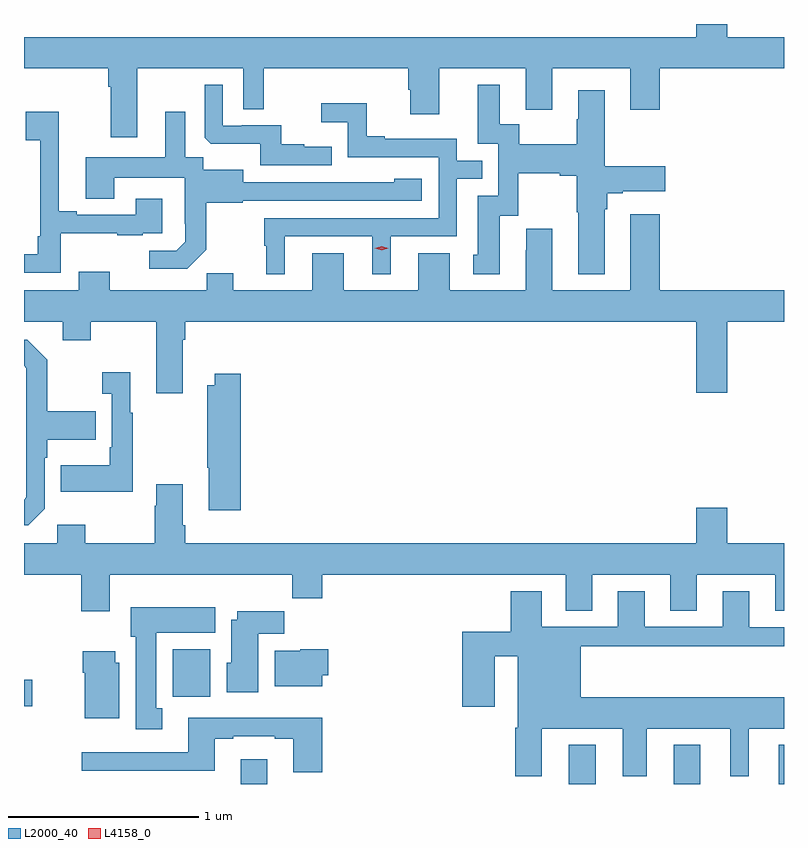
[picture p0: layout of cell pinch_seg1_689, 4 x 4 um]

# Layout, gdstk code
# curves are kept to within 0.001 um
import gdstk
lib = gdstk.Library(unit=1e-6, precision=1e-09)
def R(c, l, rs):  # rectangles x0, y0, x1, y1
    for r in rs: c.add(gdstk.rectangle(r[:2], r[2:], *l))
def P(c, l, *ps):  # polygons
    for p in ps: c.add(gdstk.Polygon(p, *l))
L2000_40 = (2000, 40)
L4158_0 = (4158, 0)

pinch_seg1_689 = lib.new_cell('pinch_seg1_689')
R(pinch_seg1_689, L2000_40, [(750.023,565.282,750.163,565.411), (751.751,565.282,751.891,565.489), (752.303,565.282,752.443,565.489), (752.855,565.282,752.883,565.489), (748.883,565.69,748.927,565.832), (749.667,565.74,749.863,565.99)])
P(pinch_seg1_689, L2000_40, [(748.883,569.048),(749.327,569.048),(749.327,568.952),(749.339,568.952),(749.339,568.686),(749.479,568.686),(749.479,569.048),(750.036,569.048),(750.036,568.834),(750.145,568.834),(750.145,569.048),(750.905,569.048),(750.905,568.935),(750.917,568.935),(750.917,568.806),(751.069,568.806),(751.069,569.048),(751.523,569.048),(751.523,568.83),(751.663,568.83),(751.663,569.048),(752.075,569.048),(752.075,568.83),(752.228,568.83),(752.228,569.048),(752.883,569.048),(752.883,569.212),(752.584,569.212),(752.584,569.282),(752.42,569.282),(752.42,569.212),(748.883,569.212)],
  [(750.503,568.636),(750.359,568.636),(750.359,568.648),(750.236,568.648),(750.236,568.749),(750.028,568.749),(750.028,568.746),(749.928,568.746),(749.928,568.963),(749.835,568.963),(749.835,568.683),(749.867,568.652),(750.126,568.652),(750.126,568.539),(750.503,568.539)],
  [(751.939,568.307),(751.952,568.307),(751.952,568.391),(752.035,568.391),(752.035,568.403),(752.257,568.403),(752.257,568.533),(751.939,568.533),(751.939,568.933),(751.799,568.933),(751.799,568.782),(751.792,568.782),(751.792,568.648),(751.489,568.648),(751.489,568.754),(751.387,568.754),(751.387,568.963),(751.271,568.963),(751.271,568.653),(751.38,568.653),(751.38,568.377),(751.271,568.377),(751.271,568.068),(751.247,568.068),(751.247,567.966),(751.387,567.966),(751.387,568.274),(751.485,568.274),(751.485,568.496),(751.703,568.496),(751.703,568.484),(751.792,568.484),(751.792,568.291),(751.799,568.291),(751.799,567.965),(751.939,567.965)],
  [(750.256,568.164),(750.716,568.164),(750.716,567.965),(750.814,567.965),(750.814,568.164),(751.161,568.164),(751.161,568.467),(751.295,568.467),(751.295,568.563),(751.161,568.563),(751.161,568.677),(750.781,568.677),(750.781,568.69),(750.687,568.69),(750.687,568.865),(750.447,568.865),(750.447,568.766),(750.588,568.766),(750.588,568.581),(751.065,568.581),(751.065,568.26),(750.147,568.26),(750.147,568.116),(750.158,568.116),(750.158,567.965),(750.256,567.965)],
  [(749.077,568.181),(749.375,568.181),(749.375,568.17),(749.507,568.17),(749.507,568.182),(749.611,568.182),(749.611,568.363),(749.471,568.363),(749.471,568.278),(749.161,568.278),(749.161,568.297),(749.065,568.297),(749.065,568.819),(748.893,568.819),(748.893,568.67),(748.968,568.67),(748.968,568.165),(748.956,568.165),(748.956,568.069),(748.883,568.069),(748.883,567.972),(749.077,567.972)],
  [(749.841,568.095),(749.841,568.341),(750.033,568.341),(750.033,568.353),(750.976,568.353),(750.976,568.468),(750.831,568.468),(750.831,568.45),(750.037,568.449),(750.037,568.516),(749.826,568.516),(749.826,568.58),(749.731,568.58),(749.731,568.819),(749.627,568.819),(749.627,568.582),(749.207,568.582),(749.207,568.363),(749.359,568.363),(749.359,568.472),(749.73,568.472),(749.73,568.231),(749.732,568.231),(749.732,568.136),(749.685,568.089),(749.541,568.089),(749.541,567.995),(749.741,567.995)],
  [(749.719,567.62),(749.732,567.62),(749.732,567.716),(752.42,567.716),(752.42,567.342),(752.584,567.342),(752.584,567.716),(752.883,567.716),(752.883,567.88),(752.228,567.88),(752.228,568.282),(752.075,568.282),(752.075,567.88),(751.663,567.88),(751.663,568.204),(751.526,568.204),(751.526,568.091),(751.523,568.091),(751.523,567.88),(751.123,567.88),(751.123,568.075),(750.959,568.075),(750.959,567.88),(750.565,567.88),(750.565,568.075),(750.401,568.075),(750.401,567.88),(749.983,567.88),(749.983,567.971),(749.845,567.971),(749.845,567.88),(749.335,567.88),(749.335,567.979),(749.171,567.979),(749.171,567.88),(748.883,567.88),(748.883,567.716),(749.087,567.716),(749.087,567.617),(749.235,567.617),(749.235,567.716),(749.579,567.716),(749.579,567.339),(749.719,567.339)],
  [(748.992,566.73),(748.992,566.999),(749.005,566.999),(749.005,567.095),(749.261,567.095),(749.261,567.243),(749.005,567.243),(749.005,567.515),(748.899,567.621),(748.883,567.621),(748.883,567.484),(748.896,567.471),(748.896,566.79),(748.883,566.777),(748.883,566.643),(748.905,566.643)],
  [(749.455,567.235),(749.443,567.235),(749.443,567.448),(749.295,567.448),(749.295,567.335),(749.346,567.335),(749.346,567.055),(749.334,567.055),(749.334,566.959),(749.077,566.959),(749.077,566.819),(749.455,566.819)],
  [(750.023,567.442),(749.888,567.442),(749.888,567.382),(749.848,567.382),(749.848,566.947),(749.855,566.947),(749.855,566.724),(750.023,566.724)],
  [(749.335,566.384),(750.295,566.384),(750.295,566.26),(750.452,566.26),(750.452,566.384),(751.733,566.384),(751.733,566.194),(751.873,566.194),(751.873,566.384),(752.285,566.384),(752.285,566.194),(752.425,566.194),(752.425,566.384),(752.837,566.384),(752.837,566.194),(752.883,566.194),(752.883,566.548),(752.584,566.548),(752.584,566.737),(752.42,566.737),(752.42,566.548),(749.732,566.548),(749.732,566.644),(749.719,566.644),(749.719,566.86),(749.579,566.86),(749.579,566.747),(749.572,566.747),(749.572,566.548),(749.205,566.548),(749.205,566.647),(749.058,566.647),(749.058,566.548),(748.883,566.548),(748.883,566.384),(749.183,566.384),(749.183,566.19),(749.335,566.19)],
  [(751.609,565.574),(752.033,565.574),(752.033,565.323),(752.161,565.323),(752.161,565.574),(752.6,565.574),(752.6,565.323),(752.698,565.323),(752.698,565.574),(752.883,565.574),(752.883,565.738),(751.813,565.738),(751.813,566.008),(752.797,566.008),(752.797,566.006),(752.883,566.006),(752.883,566.106),(752.701,566.106),(752.701,566.296),(752.561,566.296),(752.561,566.109),(752.149,566.109),(752.149,566.296),(752.009,566.296),(752.009,566.109),(751.609,566.109),(751.609,566.296),(751.445,566.296),(751.445,566.083),(751.19,566.083),(751.19,565.689),(751.36,565.689),(751.36,565.954),(751.481,565.954),(751.481,565.578),(751.469,565.578),(751.469,565.323),(751.609,565.323)],
  [(749.611,565.681),(749.578,565.681),(749.578,566.078),(749.89,566.078),(749.89,566.212),(749.444,566.212),(749.444,566.058),(749.471,566.058),(749.471,565.569),(749.611,565.569)],
  [(750.115,566.072),(750.254,566.072),(750.254,566.191),(750.005,566.191),(750.005,566.146),(749.975,566.146),(749.975,565.92),(749.951,565.92),(749.951,565.766),(750.115,565.766)],
  [(750.454,565.854),(750.485,565.854),(750.485,565.99),(750.336,565.99),(750.336,565.984),(750.203,565.984),(750.203,565.796),(750.454,565.796)],
  [(749.383,565.92),(749.362,565.92),(749.362,565.981),(749.192,565.981),(749.192,565.868),(749.204,565.868),(749.204,565.628),(749.383,565.628)],
  [(750.452,565.63),(749.747,565.63),(749.747,565.449),(749.187,565.449),(749.187,565.352),(749.887,565.352),(749.887,565.521),(749.983,565.521),(749.983,565.533),(750.203,565.533),(750.203,565.521),(750.299,565.521),(750.299,565.344),(750.452,565.344)])
P(pinch_seg1_689, L4158_0, [(750.765,568.092),(750.73,568.102),(750.729,568.102),(750.73,568.103),(750.765,568.112),(750.8,568.103),(750.801,568.102),(750.8,568.102)])

lib.write_gds('pinch_seg1_689.gds')
